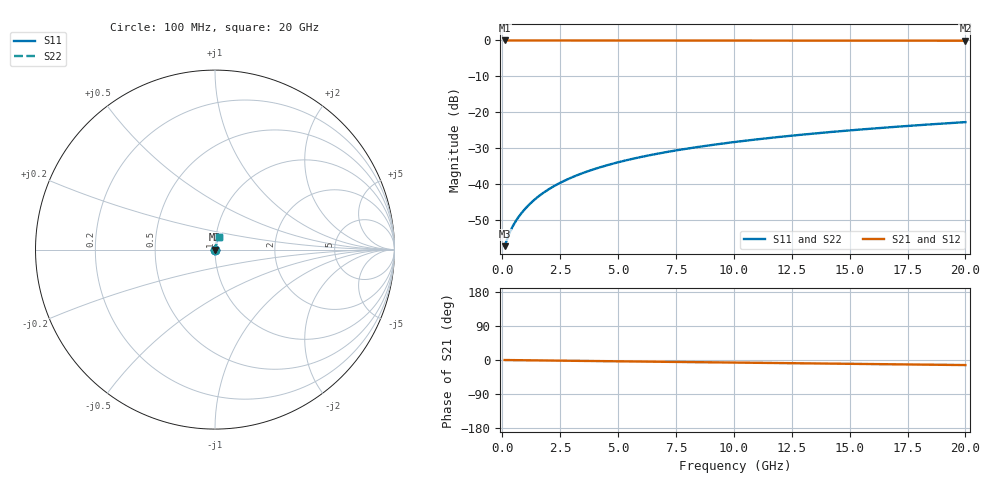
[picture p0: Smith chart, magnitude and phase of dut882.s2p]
! Touchstone file exported from HFSS 2026.1.0
!  File:  C:/ffzhzh/LocalFiles/Ansys_Project_Files/temp_train_BSMRDL_882_1783171070_18472.aedt
!  Generated:  09:19:02 PM Jul  4, 2026
!  Design:  BSMRDL
!  Project:  temp_train_BSMRDL_882_1783171070_18472
! Variables:
!  h_bsmrdl = 3.92um
!  h_ox = 20um
!  h_rdl = 5um
!  h_sub = 80um
!  h_tmrdl = 5um
!  h_tsv = 80um
!  h_via = 3um
!  l_bsmrdl = 213.82um
!  l_sub = 613.82um
!  l_tmrdl = 200um
!  m_sub = 200um
!  pitch = 26.96um
!  r_tsv = 6um
!  s_tmrdl = 10um
!  w_bsmrdl = 18.21um
!  w_sub = 500um
!  w_tmrdl = 12um
!  x_tsv_center1 = 206um
!  x_tsv_center2 = 438.03um
!  x_tsv_center3 = 650.03um
!  x_tsv_center4 = 882.06um
!  x_tsv_center5 = 1094.06um
!  x_tsv_center6 = 1326.09um
# GHz S MA R 50.000000
! Terminal data exported
! Port[1] = BSM_RDL1_1_T1
! Port[2] = BSM_RDL1_1_T2
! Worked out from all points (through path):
!   200 points, 100 MHz to 20 GHz, reference 50 ohm
!   highest |S21| = -0.01 dB at 100 MHz (marker M1); lowest = -0.1 dB at 20 GHz (marker M2)
!   group delay of S21, straight-line fit = 1.85 ps
!   lowest |S11| = -57.3 dB at 100 MHz (marker M3), VSWR 1.00, Z = 50.1 + j0.0531 ohm
!   |S11| at or under -10 dB: start of sweep to end of sweep
!   |S22| runs from -57.3 to -22.8 dB; largest |S21 - S12| = 2.2e-15
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0.1  0.001361 22.9  0.9987 -0.1  0.9987 -0.1  0.001361 22.9
! Gamma 0 0 0 0
! Port Impedance 50 0 50 0
0.3  0.002038 45.7  0.9986 -0.2  0.9986 -0.2  0.002038 45.7
0.4  0.002396 51.2  0.9985 -0.3  0.9985 -0.3  0.002396 51.2
0.6  0.003104 58.7  0.9984 -0.4  0.9984 -0.4  0.003104 58.7
0.7  0.003462 61.5  0.9984 -0.5  0.9984 -0.5  0.003462 61.5
0.9  0.004192 65.8  0.9983 -0.6  0.9983 -0.6  0.004192 65.8
1.1  0.00494 68.9  0.9983 -0.8  0.9983 -0.8  0.00494 68.9
1.3  0.005701 71.1  0.9982 -0.9  0.9982 -0.9  0.005701 71.1
1.7  0.00725 74.2  0.9981 -1.2  0.9981 -1.2  0.00725 74.2
2.2  0.009209 76.3  0.998 -1.5  0.998 -1.5  0.009209 76.3
2.8  0.01156 77.7  0.9979 -1.9  0.9979 -1.9  0.01156 77.7
3.5  0.0143 78.4  0.9976 -2.4  0.9976 -2.4  0.0143 78.4
4.2  0.01701 78.7  0.9974 -2.9  0.9974 -2.9  0.01701 78.7
5  0.02006 78.7  0.9971 -3.4  0.9971 -3.4  0.02006 78.7
5.9  0.02345 78.5  0.9967 -4.0  0.9967 -4.0  0.02345 78.5
6.8  0.02678 78.2  0.9963 -4.7  0.9963 -4.7  0.02678 78.2
8.3  0.03225 77.6  0.9957 -5.7  0.9957 -5.7  0.03225 77.6
10.1  0.03869 76.8  0.995 -6.9  0.995 -6.9  0.03869 76.8
11.7  0.04433 76.0  0.9943 -7.9  0.9943 -7.9  0.04433 76.0
13.4  0.05026 75.2  0.9937 -9.0  0.9937 -9.0  0.05026 75.2
16.7  0.06162 73.5  0.9924 -11.2  0.9924 -11.2  0.06162 73.5
20  0.0728 71.7  0.9911 -13.4  0.9911 -13.4  0.0728 71.7
